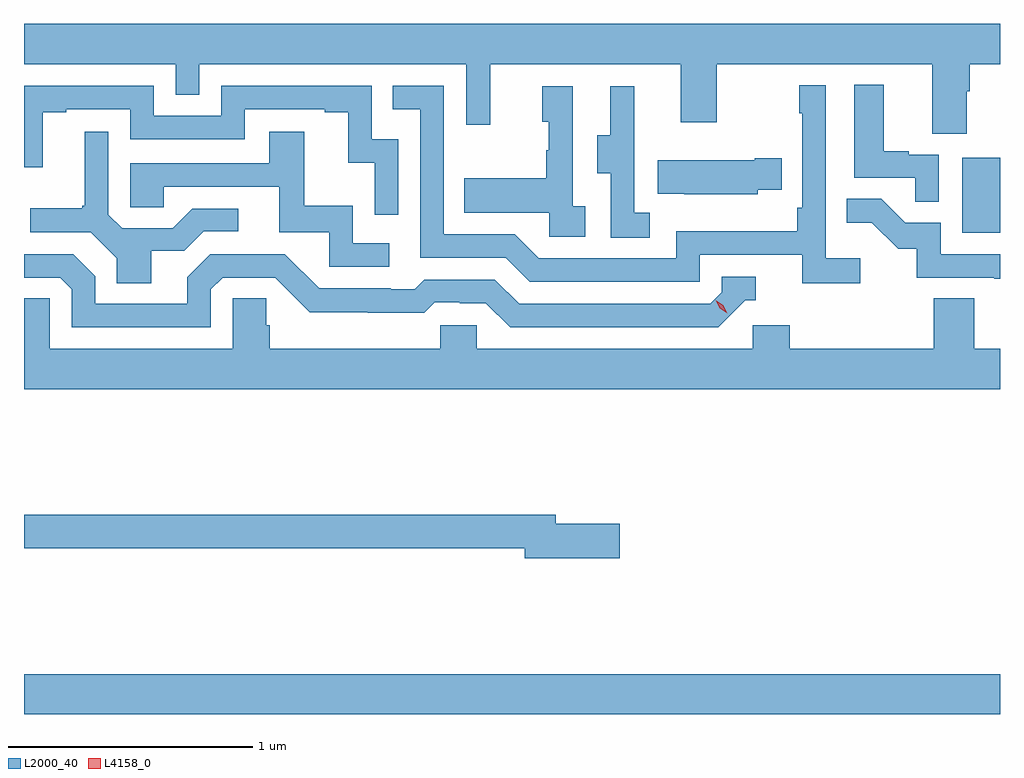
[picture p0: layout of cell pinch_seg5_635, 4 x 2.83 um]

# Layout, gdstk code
import gdstk
lib = gdstk.Library(unit=1e-6, precision=1e-09)
def R(c, l, rs):  # rectangles x0, y0, x1, y1
    for r in rs: c.add(gdstk.rectangle(r[:2], r[2:], *l))
def P(c, l, *ps):  # polygons
    for p in ps: c.add(gdstk.Polygon(p, *l))
L2000_40 = (2000, 40)
L4158_0 = (4158, 0)

pinch_seg5_635 = lib.new_cell('pinch_seg5_635')
R(pinch_seg5_635, L2000_40, [(1054.622,862.088,1058.622,862.252), (1058.468,864.06,1058.622,864.367)])
P(pinch_seg5_635, L2000_40, [(1058.485,864.64),(1058.498,864.64),(1058.498,864.752),(1058.622,864.752),(1058.622,864.916),(1054.622,864.916),(1054.622,864.752),(1055.244,864.752),(1055.244,864.625),(1055.34,864.625),(1055.34,864.752),(1056.435,864.752),(1056.435,864.504),(1056.533,864.504),(1056.533,864.752),(1057.313,864.752),(1057.313,864.513),(1057.461,864.513),(1057.461,864.752),(1058.345,864.752),(1058.345,864.466),(1058.485,864.466)],
  [(1058.37,864.381),(1058.249,864.381),(1058.249,864.394),(1058.146,864.394),(1058.146,864.667),(1058.024,864.667),(1058.024,864.285),(1058.275,864.285),(1058.275,864.187),(1058.37,864.187)],
  [(1058.05,863.956),(1057.908,863.956),(1057.908,864.664),(1057.8,864.664),(1057.8,864.551),(1057.812,864.551),(1057.812,864.163),(1057.792,864.163),(1057.792,864.067),(1057.296,864.067),(1057.296,863.955),(1056.732,863.955),(1056.633,864.054),(1056.342,864.054),(1056.342,864.663),(1056.133,864.663),(1056.133,864.567),(1056.246,864.567),(1056.246,863.958),(1056.596,863.958),(1056.695,863.859),(1057.392,863.859),(1057.392,863.97),(1057.811,863.97),(1057.811,863.854),(1058.05,863.854)],
  [(1056.156,864.444),(1056.048,864.444),(1056.048,864.663),(1055.43,864.663),(1055.43,864.54),(1055.154,864.54),(1055.154,864.663),(1054.622,864.663),(1054.622,864.329),(1054.699,864.329),(1054.699,864.555),(1054.795,864.555),(1054.795,864.567),(1055.058,864.567),(1055.058,864.444),(1055.526,864.444),(1055.526,864.567),(1055.855,864.567),(1055.855,864.555),(1055.951,864.555),(1055.951,864.347),(1056.06,864.347),(1056.06,864.135),(1056.156,864.135)],
  [(1056.922,864.17),(1056.87,864.17),(1056.87,864.661),(1056.746,864.661),(1056.746,864.516),(1056.772,864.516),(1056.772,864.398),(1056.762,864.398),(1056.762,864.283),(1056.427,864.283),(1056.427,864.143),(1056.774,864.143),(1056.774,864.045),(1056.922,864.045)],
  [(1057.186,864.143),(1057.122,864.143),(1057.122,864.447),(1057.124,864.447),(1057.124,864.661),(1057.025,864.661),(1057.025,864.459),(1056.971,864.459),(1056.971,864.304),(1057.026,864.304),(1057.026,864.04),(1057.186,864.04)],
  [(1056.118,864.018),(1055.97,864.018),(1055.97,864.172),(1055.771,864.172),(1055.771,864.475),(1055.627,864.475),(1055.627,864.345),(1055.058,864.345),(1055.058,864.165),(1055.195,864.165),(1055.195,864.249),(1055.669,864.249),(1055.669,864.063),(1055.874,864.063),(1055.874,863.922),(1056.118,863.922)],
  [(1055.143,863.986),(1055.278,863.986),(1055.358,864.066),(1055.5,864.066),(1055.5,864.159),(1055.312,864.159),(1055.231,864.078),(1055.025,864.078),(1054.968,864.135),(1054.968,864.475),(1054.871,864.475),(1054.871,864.172),(1054.86,864.172),(1054.86,864.16),(1054.647,864.16),(1054.647,864.063),(1054.896,864.063),(1055.003,863.956),(1055.003,863.854),(1055.143,863.854)],
  [(1057.629,864.236),(1057.727,864.236),(1057.727,864.366),(1057.616,864.366),(1057.616,864.358),(1057.219,864.358),(1057.219,864.221),(1057.327,864.221),(1057.327,864.218),(1057.629,864.218)],
  [(1058.622,863.973),(1058.379,863.973),(1058.379,864.102),(1058.234,864.102),(1058.136,864.2),(1057.993,864.2),(1057.993,864.101),(1058.097,864.101),(1058.204,863.994),(1058.281,863.994),(1058.281,863.877),(1058.599,863.877),(1058.599,863.872),(1058.622,863.872)],
  [(1055.388,863.829),(1055.436,863.877),(1055.652,863.877),(1055.794,863.735),(1056.03,863.735),(1056.03,863.733),(1056.263,863.733),(1056.305,863.775),(1056.408,863.775),(1056.408,863.772),(1056.515,863.772),(1056.614,863.673),(1057.467,863.673),(1057.578,863.784),(1057.621,863.784),(1057.621,863.88),(1057.482,863.88),(1057.482,863.817),(1057.434,863.769),(1056.651,863.769),(1056.552,863.868),(1056.263,863.868),(1056.224,863.829),(1056.125,863.829),(1056.125,863.832),(1055.832,863.832),(1055.691,863.973),(1055.385,863.973),(1055.291,863.879),(1055.291,863.769),(1054.914,863.769),(1054.914,863.883),(1054.824,863.973),(1054.622,863.973),(1054.622,863.877),(1054.77,863.877),(1054.818,863.829),(1054.818,863.673),(1055.388,863.673)],
  [(1058.622,863.584),(1058.516,863.584),(1058.516,863.792),(1058.351,863.792),(1058.351,863.584),(1057.76,863.584),(1057.76,863.682),(1057.608,863.682),(1057.608,863.584),(1056.477,863.584),(1056.477,863.682),(1056.327,863.682),(1056.327,863.584),(1055.63,863.584),(1055.63,863.682),(1055.615,863.682),(1055.615,863.792),(1055.478,863.792),(1055.478,863.584),(1054.728,863.584),(1054.728,863.792),(1054.622,863.792),(1054.622,863.42),(1058.622,863.42)],
  [(1057.063,862.868),(1056.802,862.868),(1056.802,862.904),(1054.622,862.904),(1054.622,862.768),(1056.674,862.768),(1056.674,862.726),(1057.063,862.726)])
P(pinch_seg5_635, L4158_0, [(1057.504,863.73),(1057.473,863.75),(1057.458,863.783),(1057.458,863.783),(1057.458,863.783),(1057.488,863.763),(1057.504,863.73),(1057.504,863.73)])

lib.write_gds('pinch_seg5_635.gds')
